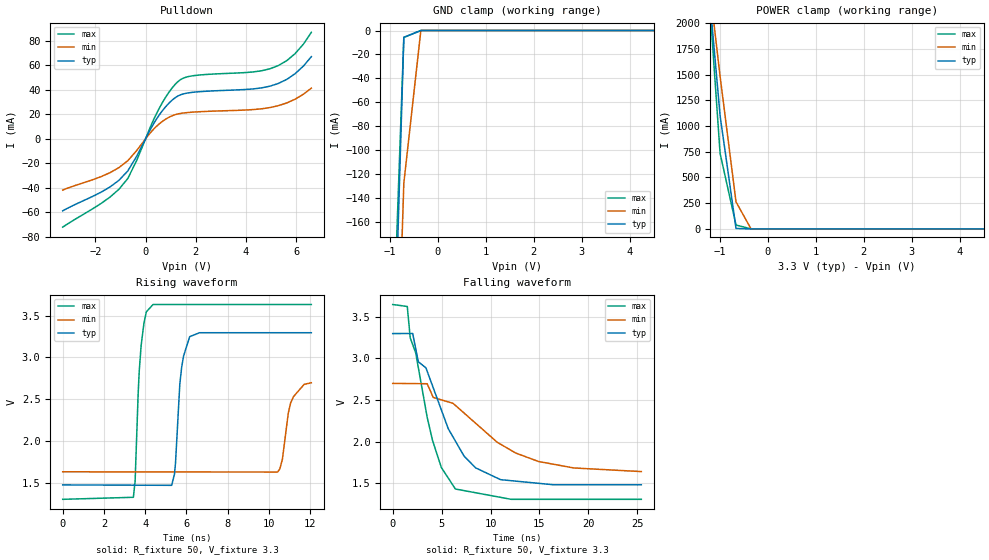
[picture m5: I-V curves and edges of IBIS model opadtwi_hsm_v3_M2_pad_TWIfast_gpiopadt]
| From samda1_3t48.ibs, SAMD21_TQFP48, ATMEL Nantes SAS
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|   MODEL : opadtwi_hsm_v3_M2_pad_TWIfast_gpiopadt
[Model] opadtwi_hsm_v3_M2_pad_TWIfast_gpiopadt
Model_type I/O_open_sink
Vinl  =  0.99
Vinh  =  2.31
Vmeas =  1.650
| Capacitance   typ   min   max
C_comp   2.23117711257e-12   2.18575963294e-12   2.30322442975e-12
| Variables   typ   min   max
[GND Clamp Reference]   0   0   0
[POWER Clamp Reference]   3.3   2.7   3.65
[Pulldown Reference]   0   0   0
[Pullup Reference]   3.3   2.7   3.65
[Temperature Range]   25   125   -40
[Voltage Range]   3.3   2.7   3.65
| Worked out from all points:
|   slope of the pulldown table from 0 to 0.495 V, typ, clamps not added: 27.5 ohm
|   rising waveform, R_fixture 50, V_fixture 3.3: 20-80 % time 309ps typ, 418ps min, 269ps max; typ from 1.47 V to 3.3 V
|   falling waveform, R_fixture 50, V_fixture 3.3: 20-80 % time 4.32ns typ, 7.45ns min, 2.73ns max; typ from 3.3 V to 1.48 V
[GND Clamp]
| Voltage   I(typ)   I(min)   I(max)
-3.3V     -4.288A    -3.569A    -5.225A
-1.064V   -482mA     -569.2mA   -405mA
-709.1mV  -5.635mA   -127.8mA   -5.807mA
-354.5mV  -2.506uA   -27.55uA   -534.5nA
6.6V      0A         0A         0A
[POWER Clamp]
| Voltage   I(typ)   I(min)   I(max)
-3.3V     13.48A     10.93A     16.51A
-1.327V   2.843A     2.81A      2.962A
-995.5mV  1.1A       1.483A     734.3mA
-663.6mV  4.961mA    263.1mA    38.25mA
-350mV    12.03uA    85.42uA    545.4uA
6.6V      0A         0A         0A
[Pulldown]
| Voltage   I(typ)   I(min)   I(max)
-3.3V     -58.9mA    -41.97mA   -72.26mA
-1.418V   -39.4mA    -27.72mA   -47.68mA
-709.1mV  -26.32mA   -17.92mA   -32.5mA
-354.5mV  -14.29mA   -9.594mA   -17.77mA
515.6mV   18.61mA    11.68mA    23.84mA
928.1mV   29.08mA    17.57mA    38mA
1.341V    35.53mA    20.55mA    47.65mA
1.959V    38.2mA     21.93mA    51.77mA
4.959V    43.09mA    25.58mA    57.32mA
5.623V    48.61mA    29.34mA    63.95mA
5.955V    53.26mA    32.41mA    69.67mA
6.6V      67.18mA    41.42mA    87.09mA
[Ramp]
dV/dt_r   1.09591/0.311519n  0.641711/0.422574n  1.40951/0.275253n
dV/dt_f   1.09591/4.3325n  0.641712/7.54602n  1.40951/2.73805n
R_load = 50
[Rising Waveform]
R_fixture = 50
V_fixture = 3.3
V_fixture_min = 2.7
V_fixture_max = 3.65
| Time   V(typ)   V(min)   V(max)
0s        1.473V     1.63V      1.301V
3.429ns   1.47V      1.63V      1.325V
3.808ns   1.47V      1.629V     3.148V
4.382ns   1.469V     1.629V     3.633V
5.425ns   1.604V     1.629V     3.633V
5.772ns   2.882V     1.629V     3.634V
6.163ns   3.249V     1.629V     3.634V
10.43ns   3.296V     1.628V     3.634V
11.06ns   3.296V     2.455V     3.634V
12.06ns   3.296V     2.697V     3.634V
[Falling Waveform]
R_fixture = 50
V_fixture = 3.3
V_fixture_min = 2.7
V_fixture_max = 3.65
| Time   V(typ)   V(min)   V(max)
0s        3.3V       2.7V       3.65V
1.49ns    3.301V     2.698V     3.626V
1.79ns    3.301V     2.698V     3.248V
2.352ns   3.117V     2.697V     3.067V
4.071ns   2.67V      2.551V     2.013V
6.41ns    2.005V     2.435V     1.428V
8.478ns   1.683V     2.22V      1.383V
11.03ns   1.541V     1.967V     1.328V
14.91ns   1.497V     1.759V     1.304V
25.42ns   1.479V     1.638V     1.304V
